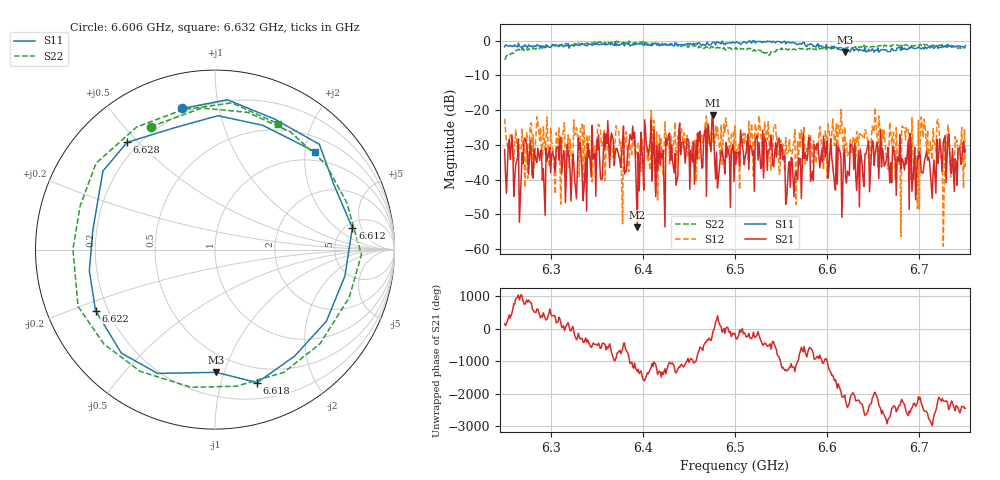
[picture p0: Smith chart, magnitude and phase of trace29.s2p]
# Hz S RI R 50
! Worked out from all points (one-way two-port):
!   401 points, 6.25 GHz to 6.75 GHz, reference 50 ohm
!   highest |S21| = -21.52 dB at 6.476 GHz (marker M1); lowest = -53.8 dB at 6.394 GHz (marker M2)
!   lowest |S11| = -3.3 dB at 6.619 GHz (marker M3), VSWR 5.33, Z = 18.3 - j47 ohm
!   |S11| at or under -10 dB: nowhere
!   |S22| runs from -5.4 to 0.1 dB; largest |S21 - S12| = 0.12
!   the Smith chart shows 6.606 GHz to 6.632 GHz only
!   S11 on the Smith chart (normalised r, x): 6.606 GHz: 0.17, +0.78; 6.612 GHz: 5.74, +3.46; 6.618 GHz: 0.35, -1.31; 6.622 GHz: 0.15, -0.24; 6.628 GHz: 0.16, +0.46; 6.632 GHz: 0.79, +2.21
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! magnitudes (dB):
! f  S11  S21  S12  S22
! 6.25 GHz  -1.7  -31.3  -22.5  -5.4
! 6.274 GHz  -1.7  -29.8  -26.5  -2.2
! 6.286 GHz  -1.2  -30.9  -23.4  -2.2
! 6.334 GHz  -0.9  -37.3  -24.0  -0.8
! 6.389 GHz  -0.9  -24.6  -26.3  -0.4
! 6.394 GHz  -0.9  -53.8  -30.6  -0.5
! 6.418 GHz  -1.4  -29.6  -27.2  -0.9
! 6.476 GHz  -0.4  -21.5  -26.7  -1.8
! 6.5 GHz  -0.6  -32.0  -24.6  -2.4
! 6.584 GHz  -1.2  -37.6  -35.1  -2.2
! 6.606 GHz  -1.9  -36.1  -22.6  -2.2
! 6.612 GHz  -2.2  -30.4  -24.3  -2.2
! 6.618 GHz  -2.2  -32.3  -34.1  -2.1
! 6.619 GHz  -3.3  -31.2  -24.8  -2.3
! 6.622 GHz  -2.5  -37.5  -33.2  -1.8
! 6.628 GHz  -2.2  -30.8  -27.8  -1.7
! 6.632 GHz  -2.2  -43.1  -26.2  -2.1
! 6.668 GHz  -3.2  -41.0  -23.4  -1.4
! 6.698 GHz  -2.1  -33.2  -48.3  -1.4
! 6.72 GHz  -2.2  -35.3  -22.6  -1.4
! 6.726 GHz  -1.8  -29.2  -59.2  -1.2
! 6.75 GHz  -1.4  -31.5  -36.7  -1.8
